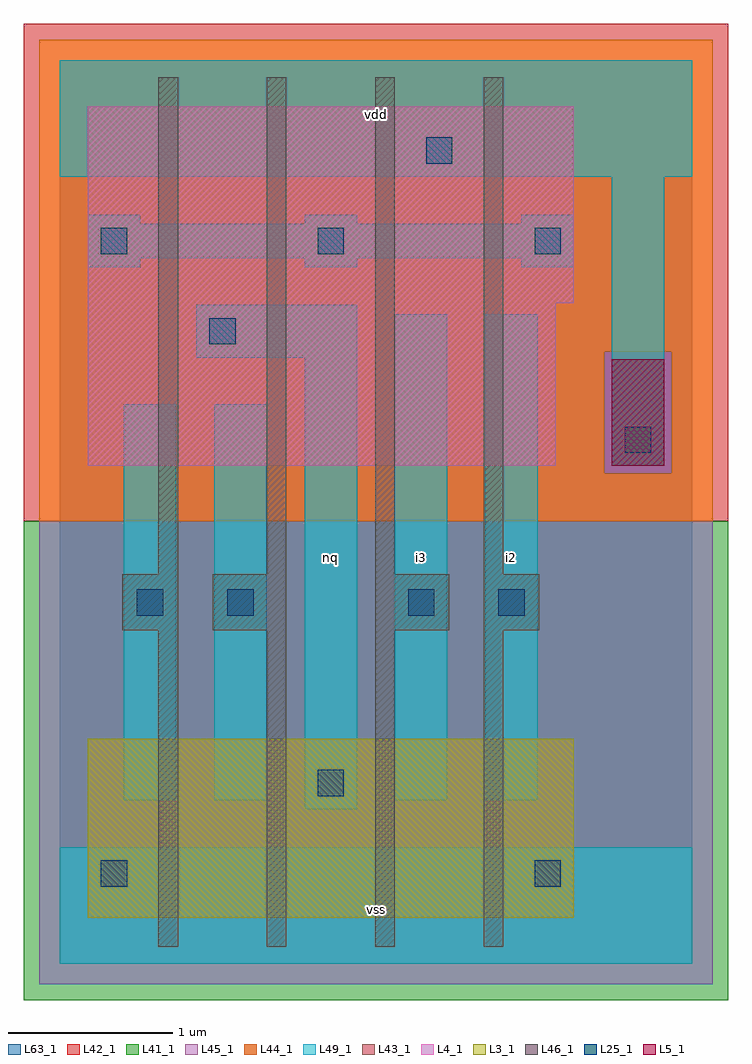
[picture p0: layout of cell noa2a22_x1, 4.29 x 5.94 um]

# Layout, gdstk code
import gdstk
lib = gdstk.Library(unit=1e-6, precision=1e-09)
def R(c, l, rs):  # rectangles x0, y0, x1, y1
    for r in rs: c.add(gdstk.rectangle(r[:2], r[2:], *l))
def A(c, l, x, y, w, h, nx, ny, dx, dy):  # array of equal rectangles
    R(c, l, [(x+i*dx, y+j*dy, x+i*dx+w, y+j*dy+h) for i in range(nx) for j in range(ny)])
L3_1 = (3, 1)
L4_1 = (4, 1)
L5_1 = (5, 1)
L25_1 = (25, 1)
L41_1 = (41, 1)
L42_1 = (42, 1)
L43_1 = (43, 1)
L44_1 = (44, 1)
L45_1 = (45, 1)
L46_1 = (46, 1)
L49_1 = (49, 1)
L63_1 = (63, 1)

noa2a22_x1 = lib.new_cell('noa2a22_x1')
R(noa2a22_x1, L3_1, [(0.17,0.28,3.13,1.37)])
R(noa2a22_x1, L4_1, [(0.17,3.03,3.02,4.02), (0.17,4.02,3.13,5.22)])
R(noa2a22_x1, L5_1, [(3.36,3.03,3.68,3.68)])
A(noa2a22_x1, L25_1, 0.25, 4.32, 0.16, 0.16, 3, 1, 1.32, 0)
R(noa2a22_x1, L25_1, [(0.25,0.47,0.41,0.63), (2.89,0.47,3.05,0.63), (1.57,1.02,1.73,1.18), (0.47,2.12,0.63,2.28), (1.02,2.12,1.18,2.28), (2.12,2.12,2.28,2.28), (2.67,2.12,2.83,2.28), (3.44,3.11,3.6,3.27), (0.91,3.77,1.07,3.93), (2.23,4.87,2.39,5.03)])
R(noa2a22_x1, L41_1, [(-0.22,-0.22,4.07,2.695)])
R(noa2a22_x1, L42_1, [(-0.22,2.695,4.07,5.72)])
R(noa2a22_x1, L43_1, [(0.17,0.28,3.13,1.37), (0.17,3.03,3.02,4.02), (3.36,3.03,3.68,3.68), (0.17,4.02,3.13,5.22)])
R(noa2a22_x1, L44_1, [(-0.125,2.695,3.975,2.985), (-0.125,2.985,3.315,3.725), (3.725,2.985,3.975,3.725), (-0.125,3.725,3.975,5.625)])
R(noa2a22_x1, L45_1, [(-0.125,-0.125,3.975,2.695), (3.315,2.985,3.725,3.725)])
A(noa2a22_x1, L46_1, 0.6, 0.105, 0.12, 1.925, 4, 1, 0.66, 0)
A(noa2a22_x1, L46_1, 0.6, 2.37, 0.12, 3.025, 4, 1, 0.66, 0)
R(noa2a22_x1, L46_1, [(0.38,2.03,0.72,2.37), (0.93,2.03,1.38,2.37), (1.92,2.03,2.37,2.37), (2.58,2.03,2.92,2.37)])
A(noa2a22_x1, L49_1, 0.17, 4.24, 0.32, 0.055, 3, 2, 1.32, 0.265)
R(noa2a22_x1, L49_1, [(0,0,3.85,0.71), (1.49,0.94,1.81,3.69), (0.39,0.995,0.71,3.405), (0.94,0.995,1.26,3.405), (2.04,0.995,2.36,3.955), (2.59,0.995,2.91,3.955), (3.36,3.03,3.68,4.79), (0.83,3.69,1.81,4.01), (0.17,4.295,3.13,4.505), (0,4.79,3.85,5.5)])
R(noa2a22_x1, L63_1, [(0,0,3.85,5.5)])
noa2a22_x1.add(gdstk.Label('nq', (1.65,2.475), layer=49, texttype=1))
noa2a22_x1.add(gdstk.Label('nq', (1.65,2.475), layer=49, texttype=1))
noa2a22_x1.add(gdstk.Label('vss', (1.925,0.33), layer=49, texttype=1))
noa2a22_x1.add(gdstk.Label('vss', (1.925,0.33), layer=49, texttype=1))
noa2a22_x1.add(gdstk.Label('i2', (2.75,2.475), layer=49, texttype=1))
noa2a22_x1.add(gdstk.Label('i3', (2.2,2.475), layer=49, texttype=1))
noa2a22_x1.add(gdstk.Label('i2', (2.75,2.475), layer=49, texttype=1))
noa2a22_x1.add(gdstk.Label('i3', (2.2,2.475), layer=49, texttype=1))
noa2a22_x1.add(gdstk.Label('vdd', (1.925,5.17), layer=49, texttype=1))
noa2a22_x1.add(gdstk.Label('vdd', (1.925,5.17), layer=49, texttype=1))

lib.write_gds('noa2a22_x1.gds')
